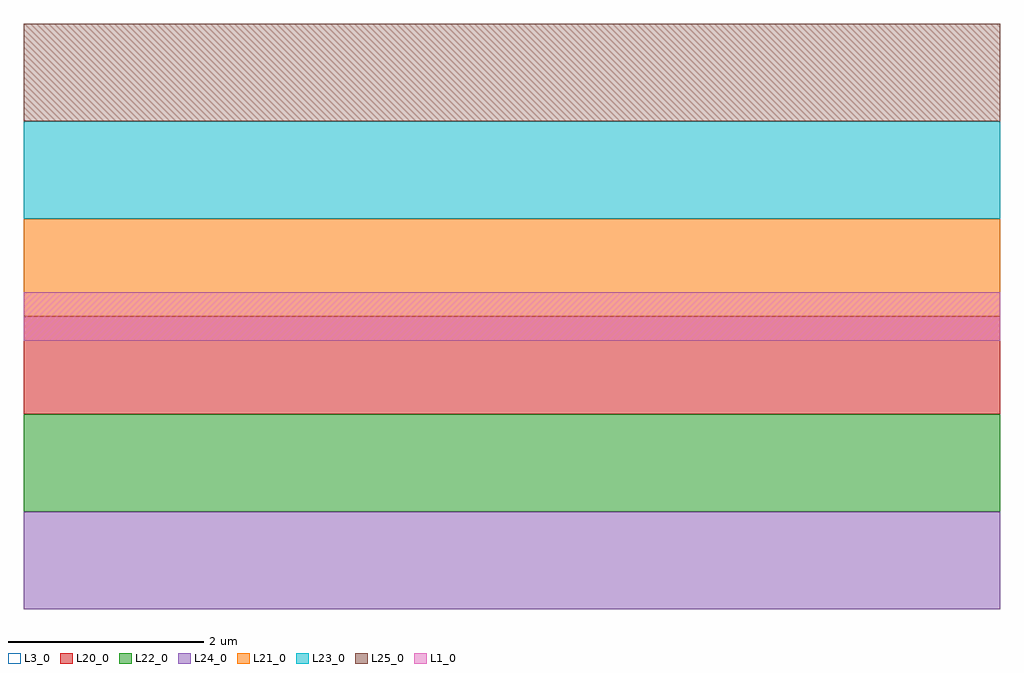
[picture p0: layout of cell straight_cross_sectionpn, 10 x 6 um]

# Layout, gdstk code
import gdstk
lib = gdstk.Library(unit=1e-6, precision=1e-09)
def R(c, l, rs):  # rectangles x0, y0, x1, y1
    for r in rs: c.add(gdstk.rectangle(r[:2], r[2:], *l))
L1_0 = (1, 0)
L3_0 = (3, 0)
L20_0 = (20, 0)
L21_0 = (21, 0)
L22_0 = (22, 0)
L23_0 = (23, 0)
L24_0 = (24, 0)
L25_0 = (25, 0)

straight_cross_sectionpn = lib.new_cell('straight_cross_sectionpn')
R(straight_cross_sectionpn, L1_0, [(0,-0.25,10,0.25)])
R(straight_cross_sectionpn, L3_0, [(0,-3,10,3)])
R(straight_cross_sectionpn, L20_0, [(0,-1,10,0)])
R(straight_cross_sectionpn, L21_0, [(0,0,10,1)])
R(straight_cross_sectionpn, L22_0, [(0,-2,10,-1)])
R(straight_cross_sectionpn, L23_0, [(0,1,10,2)])
R(straight_cross_sectionpn, L24_0, [(0,-3,10,-2)])
R(straight_cross_sectionpn, L25_0, [(0,2,10,3)])

lib.write_gds('straight_cross_sectionpn.gds')
